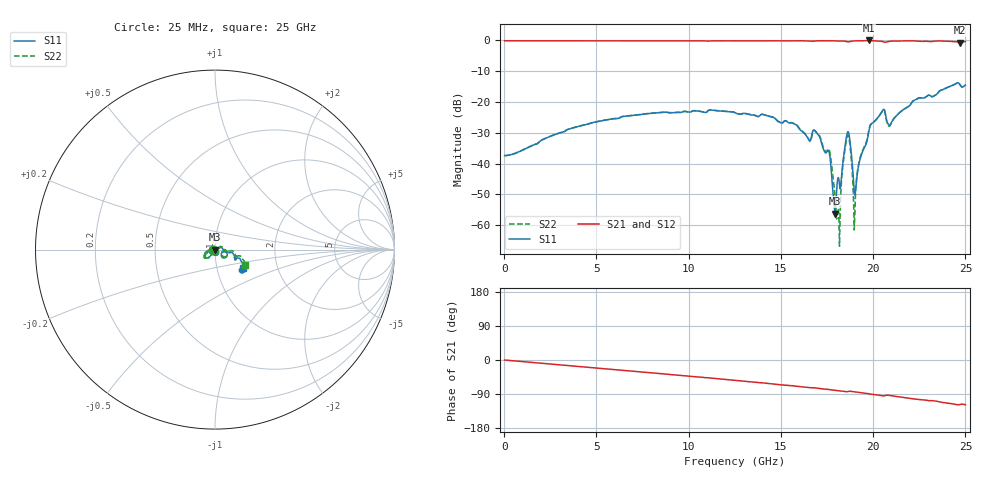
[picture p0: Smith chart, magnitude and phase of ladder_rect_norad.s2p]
! R_s4_rect_n4: kisi's ladder with the plane pair as a finite cavity (rect) (Finite board 24 × 16 mm, via L1 → L4 through the L2/L3 cavity, four GND vias at 1 mm)
# Hz S RI R 50
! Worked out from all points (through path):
!   1000 points, 25 MHz to 25 GHz, reference 50 ohm
!   highest |S21| = -0.02 dB at 19.77 GHz (marker M1); lowest = -0.8 dB at 24.7 GHz (marker M2)
!   group delay of S21, straight-line fit = 13 ps
!   lowest |S11| = -56.2 dB at 17.93 GHz (marker M3), VSWR 1.00, Z = 49.9 - j0.123 ohm
!   |S11| at or under -10 dB: start of sweep to end of sweep
!   |S22| runs from -66.8 to -13.8 dB; largest |S21 - S12| = 0
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2.5e7  -0.0135 -0.000219  0.9865 -0.00181  0.9865 -0.00181  -0.0135 -0.00022
4.2e9  -0.0243 -0.0336  0.9391 -0.2995  0.9391 -0.2995  -0.0243 -0.0338
8.35e9  -0.0476 -0.0471  0.8028 -0.5701  0.8028 -0.5701  -0.0476 -0.0474
1.2525e10  -0.0591 -0.0304  0.5817 -0.7965  0.5817 -0.7965  -0.0597 -0.0304
1.5675e10  -0.0433 -0.012  0.3645 -0.9147  0.3645 -0.9147  -0.0441 -0.0106
1.6675e10  -0.0229 -0.0179  0.2766 -0.9288  0.2766 -0.9288  -0.0231 -0.0153
1.6925e10  -0.0311 -0.00763  0.27 -0.9446  0.27 -0.9446  -0.0319 -0.00542
1.76e10  -0.0158 0.00045  0.2093 -0.9644  0.2093 -0.9644  -0.0168 0.0036
1.7925e10  -0.000937 -0.00123  0.1713 -0.9671  0.1713 -0.9671  -0.00174 0.00279
1.8125e10  0.0011 -0.00575  0.156 -0.9642  0.156 -0.9642  0.00061 -0.0016
1.84e10  0.0122 -0.00486  0.1255 -0.9685  0.1255 -0.9685  0.0118 -2.91e-05
1.86e10  0.0165 -0.027  0.107 -0.9446  0.107 -0.9446  0.0174 -0.0219
1.8725e10  -0.00715 -0.0249  0.127 -0.9474  0.127 -0.9474  -0.00636 -0.0213
1.89e10  -0.00396 -0.00637  0.1127 -0.9706  0.1127 -0.9706  -0.00422 -0.00247
1.9e10  0.000938 -0.00294  0.1008 -0.9755  0.1008 -0.9755  0.000514 0.00127
1.9275e10  0.0113 0.000183  0.0715 -0.9815  0.0715 -0.9815  0.0108 0.00505
1.9775e10  0.0328 0.0112  0.0156 -0.9981  0.0156 -0.9981  0.0318 0.0174
2.0525e10  0.0682 -0.0288  -0.0752 -0.9543  -0.0752 -0.9543  0.07 -0.0204
2.085e10  0.0356 -0.0226  -0.0549 -0.96  -0.0549 -0.96  0.037 -0.0163
2.2275e10  0.1039 -0.0297  -0.2229 -0.9532  -0.2229 -0.9532  0.1064 -0.0187
2.47e10  0.1443 -0.1287  -0.4208 -0.8122  -0.4208 -0.8122  0.1547 -0.1148
2.5e10  0.1584 -0.1021  -0.4497 -0.8468  -0.4497 -0.8468  0.1669 -0.0871
